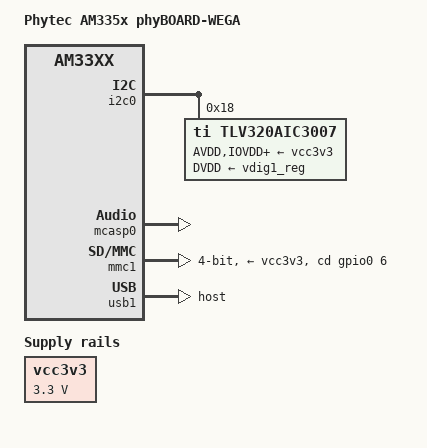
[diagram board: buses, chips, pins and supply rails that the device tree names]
/*
 * Copyright (C) 2014 Teresa Gámez <t.gamez@phytec.de> Phytec Messtechnik GmbH
 *
 * This program is free software; you can redistribute it and/or modify
 * it under the terms of the GNU General Public License version 2 as
 * published by the Free Software Foundation.
 */

/ {
	model = "Phytec AM335x phyBOARD-WEGA";
	compatible = "phytec,am335x-wega", "phytec,am335x-phycore-som", "ti,am33xx";

	sound: sound_iface {
		compatible = "ti,da830-evm-audio";
	};

	vcc3v3: fixedregulator@1 {
		compatible = "regulator-fixed";
	};
};

/* Audio */
&am33xx_pinmux {
	mcasp0_pins: pinmux_mcasp0 {
		pinctrl-single,pins = <
			0x190 (PIN_INPUT_PULLDOWN | MUX_MODE0) /* mcasp0_aclkx.mcasp0_aclkx */
			0x194 (PIN_INPUT_PULLDOWN | MUX_MODE0) /* mcasp0_fsx.mcasp0_fsx */
			0x198 (PIN_INPUT_PULLDOWN | MUX_MODE0) /* mcasp0_axr0.mcasp0_axr0 */
			0x1A8 (PIN_OUTPUT_PULLDOWN | MUX_MODE0) /* mcasp0_axr1.mcasp0_axr1 */
			0x1AC (PIN_OUTPUT_PULLDOWN | MUX_MODE0) /* mcasp0_ahclkx.mcasp0_ahclkx */
		>;
	};
};

&i2c0 {
	tlv320aic3007: audio_codec@18 {
		compatible = "ti,tlv320aic3007";
		reg = <0x18>;
		AVDD-supply = <&vcc3v3>;
		IOVDD-supply = <&vcc3v3>;
		DRVDD-supply = <&vcc3v3>;
		DVDD-supply = <&vdig1_reg>;
	};
};

&mcasp0 {
	pinctrl-names = "default";
	pinctrl-0 = <&mcasp0_pins>;
	op-mode = <0>;
	tdm-slots = <2>;
	serial-dir = <
		2 1 0 0 /* # 0: INACTIVE, 1: TX, 2: RX */
	>;
	tx-num-evt = <16>;
	rt-num-evt = <16>;
	status = "okay";
};

&sound {
	ti,model = "OnboardTLV320AIC3007";
	ti,audio-codec = <&tlv320aic3007>;
	ti,mcasp-controller = <&mcasp0>;
	ti,codec-clock-rate = <25000000>;
	ti,audio-routing =
		"Line Out",		"LLOUT",
		"Line Out",		"RLOUT",
		"Speaker",		"SPOP",
		"Speaker",		"SPOM",
		"LINE1L",		"Line In",
		"LINE1R",		"Line In";
	status = "okay";
};

&vdig1_reg {
		regulator-boot-on;
		regulator-always-on;
};

/* CAN Busses */
&am33xx_pinmux {
	dcan1_pins: pinmux_dcan1 {
		pinctrl-single,pins = <
			0x168 (PIN_OUTPUT_PULLUP | MUX_MODE2) /* uart0_ctsn.d_can1_tx */
			0x16c (PIN_INPUT_PULLUP | MUX_MODE2) /* uart0_rtsn.d_can1_rx */
		>;
	};
};

&dcan1 {
	pinctrl-names = "default";
	pinctrl-0 = <&dcan1_pins>;
};

/* Ethernet */
&am33xx_pinmux {
	ethernet1_pins: pinmux_ethernet1 {
		pinctrl-single,pins = <
			0x40 (PIN_OUTPUT | MUX_MODE1)		/* gpmc_a0.mii2_txen */
			0x44 (PIN_INPUT_PULLDOWN | MUX_MODE1)	/* gpmc_a1.mii2_rxdv */
			0x48 (PIN_OUTPUT | MUX_MODE1)		/* gpmc_a2.mii2_txd3 */
			0x4c (PIN_OUTPUT | MUX_MODE1)		/* gpmc_a3.mii2_txd2 */
			0x50 (PIN_OUTPUT | MUX_MODE1)		/* gpmc_a4.mii2_txd1 */
			0x54 (PIN_OUTPUT | MUX_MODE1)		/* gpmc_a5.mii2_txd0 */
			0x58 (PIN_INPUT_PULLDOWN | MUX_MODE1)	/* gpmc_a6.mii2_txclk */
			0x5c (PIN_INPUT_PULLDOWN | MUX_MODE1)	/* gpmc_a7.mii2_rxclk */
			0x60 (PIN_INPUT_PULLDOWN | MUX_MODE1)	/* gpmc_a8.mii2_rxd3 */
			0x64 (PIN_INPUT_PULLDOWN | MUX_MODE1)	/* gpmc_a9.mii2_rxd2 */
			0x68 (PIN_INPUT_PULLDOWN | MUX_MODE1)	/* gpmc_a10.mii2_rxd1 */
			0x6c (PIN_INPUT_PULLDOWN | MUX_MODE1)	/* gpmc_a11.mii2_rxd0 */
			0x74 (PIN_INPUT_PULLDOWN | MUX_MODE1)	/* gpmc_wpn.mii2_rxerr */
			0x78 (PIN_INPUT_PULLDOWN | MUX_MODE1)	/* gpmc_ben1.mii2_col */
		>;
	};
};

&cpsw_emac1 {
	phy_id = <&davinci_mdio>, <1>;
	phy-mode = "mii";
	dual_emac_res_vlan = <2>;
	status = "disabled";
};

&mac {
	slaves = <2>;
	pinctrl-names = "default";
	pinctrl-0 = <&ethernet0_pins &ethernet1_pins>;
	dual_emac = <1>;
};

/* MMC */
&am33xx_pinmux {
	mmc1_pins: pinmux_mmc1 {
		pinctrl-single,pins = <
			0x0F0 (PIN_INPUT_PULLUP | MUX_MODE0)	/* mmc0_dat3.mmc0_dat3 */
			0x0F4 (PIN_INPUT_PULLUP | MUX_MODE0)	/* mmc0_dat2.mmc0_dat2 */
			0x0F8 (PIN_INPUT_PULLUP | MUX_MODE0)	/* mmc0_dat1.mmc0_dat1 */
			0x0FC (PIN_INPUT_PULLUP | MUX_MODE0)	/* mmc0_dat0.mmc0_dat0 */
			0x100 (PIN_INPUT_PULLUP | MUX_MODE0)	/* mmc0_clk.mmc0_clk */
			0x104 (PIN_INPUT_PULLUP | MUX_MODE0)	/* mmc0_cmd.mmc0_cmd */
			0x160 (PIN_INPUT_PULLUP | MUX_MODE7)	/* spi0_cs1.mmc0_sdcd */
		>;
	};
};

&mmc1 {
	vmmc-supply = <&vcc3v3>;
	bus-width = <4>;
	pinctrl-names = "default";
	pinctrl-0 = <&mmc1_pins>;
	cd-gpios = <&gpio0 6 GPIO_ACTIVE_HIGH>;
};

/* Power */
&vcc3v3 {
	regulator-name = "vcc3v3";
	regulator-min-microvolt = <3300000>;
	regulator-max-microvolt = <3300000>;
	regulator-boot-on;
};

/* UARTs */
&am33xx_pinmux {
	uart0_pins: pinmux_uart0 {
		pinctrl-single,pins = <
			0x170 (PIN_INPUT_PULLUP | MUX_MODE0)    /* uart0_rxd.uart0_rxd */
			0x174 (PIN_OUTPUT_PULLDOWN | MUX_MODE0) /* uart0_txd.uart0_txd */
		>;
	};

	uart1_pins: pinmux_uart1_pins {
		pinctrl-single,pins = <
			0x180 (PIN_INPUT_PULLUP | MUX_MODE0)	/* uart1_rxd.uart1_rxd */
			0x184 (PIN_OUTPUT_PULLDOWN | MUX_MODE0)	/* uart1_txd.uart1_txd */
			0x178 (PIN_INPUT | MUX_MODE0)		/* uart1_ctsn.uart1_ctsn */
			0x17c (PIN_OUTPUT_PULLDOWN | MUX_MODE0)		/* uart1_rtsn.uart1_rtsn */
		>;
	};
};

&uart0 {
	pinctrl-names = "default";
	pinctrl-0 = <&uart0_pins>;
};

&uart1 {
	pinctrl-names = "default";
	pinctrl-0 = <&uart1_pins>;
};

/* USB */
&am33xx_pinmux {
	usb_pins: pinmux_usb {
		pinctrl-single,pins = <
			0x21c (PIN_OUTPUT | MUX_MODE0)		/* usb0_drvvbus.usb0_drvvbus */
			0x234 (PIN_OUTPUT | MUX_MODE0)		/* usb1_drvvbus.usb1_drvvbus */
		>;
	};
};

&usb {
	pinctrl-names = "default";
	pinctrl-0 = <&usb_pins>;
};

/* usb0 is in otg mode */

&usb1 {
	dr_mode = "host";
};
